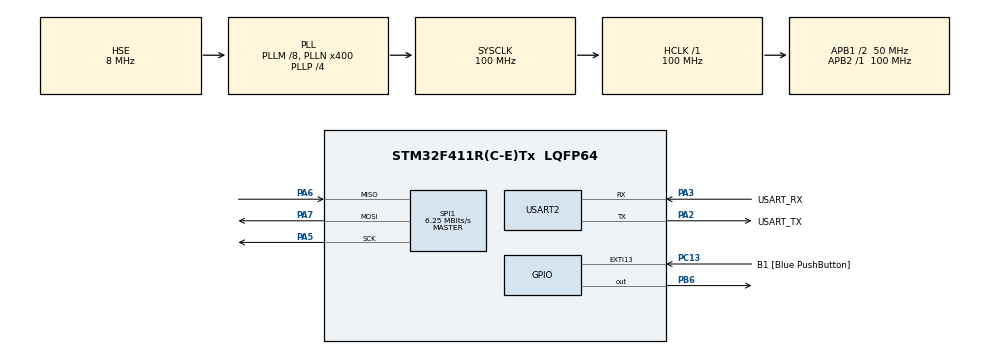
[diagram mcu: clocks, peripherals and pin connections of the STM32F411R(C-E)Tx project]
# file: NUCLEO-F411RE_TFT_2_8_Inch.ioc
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Mcu.Family=STM32F4
Mcu.Name=STM32F411R(C-E)Tx
Mcu.Package=LQFP64
NVIC.PriorityGroup=NVIC_PRIORITYGROUP_0
PA13.GPIO_Label=TMS
PA13.Mode=Serial_Wire
PA13.Signal=SYS_JTMS-SWDIO
PA14.GPIO_Label=TCK
PA14.Mode=Serial_Wire
PA14.Signal=SYS_JTCK-SWCLK
PA2.GPIO_Label=USART_TX
PA2.Mode=Asynchronous
PA2.Signal=USART2_TX
PA3.GPIO_Label=USART_RX
PA3.Mode=Asynchronous
PA3.Signal=USART2_RX
PA5.Mode=Full_Duplex_Master
PA5.Signal=SPI1_SCK
PA6.Mode=Full_Duplex_Master
PA6.Signal=SPI1_MISO
PA7.Mode=Full_Duplex_Master
PA7.Signal=SPI1_MOSI
PB3.GPIO_Label=SWO
PB3.Signal=SYS_JTDO-SWO
PB6.GPIO_PuPd=GPIO_PULLUP
PB6.GPIO_Speed=GPIO_SPEED_FREQ_VERY_HIGH
PB6.PinState=GPIO_PIN_SET
PB6.Signal=GPIO_Output
PC13-ANTI_TAMP.GPIO_Label=B1 [Blue PushButton]
PC13-ANTI_TAMP.GPIO_ModeDefaultEXTI=GPIO_MODE_IT_FALLING
PC13-ANTI_TAMP.Signal=GPXTI13
PC14-OSC32_IN.Mode=LSE-External-Oscillator
PC14-OSC32_IN.Signal=RCC_OSC32_IN
PC15-OSC32_OUT.Mode=LSE-External-Oscillator
PC15-OSC32_OUT.Signal=RCC_OSC32_OUT
PH0\ -\ OSC_IN.Mode=HSE-External-Clock-Source
PH0\ -\ OSC_IN.Signal=RCC_OSC_IN
PH1\ -\ OSC_OUT.Mode=HSE-External-Clock-Source
PH1\ -\ OSC_OUT.Signal=RCC_OSC_OUT
ProjectManager.HeapSize=0x2000
ProjectManager.StackSize=0x4000
ProjectManager.TargetToolchain=MDK-ARM V5.32
RCC.48MHZClocksFreq_Value=100000000
RCC.AHBFreq_Value=100000000
RCC.APB1CLKDivider=RCC_HCLK_DIV2
RCC.APB1Freq_Value=50000000
RCC.APB1TimFreq_Value=100000000
RCC.APB2Freq_Value=100000000
RCC.APB2TimFreq_Value=100000000
RCC.CortexFreq_Value=100000000
RCC.FLatency-AdvancedSettings=FLASH_LATENCY_3
RCC.HCLKFreq_Value=100000000
RCC.HSE_VALUE=8000000
RCC.HSI_VALUE=16000000
RCC.PLLM=8
RCC.PLLN=400
RCC.PLLP=RCC_PLLP_DIV4
RCC.PLLSourceVirtual=RCC_PLLSOURCE_HSE
RCC.SYSCLKFreq_VALUE=100000000
RCC.SYSCLKSource=RCC_SYSCLKSOURCE_PLLCLK
RCC.VCOOutputFreq_Value=400000000
SPI1.BaudRatePrescaler=SPI_BAUDRATEPRESCALER_16
SPI1.CalculateBaudRate=6.25 MBits/s
SPI1.Direction=SPI_DIRECTION_2LINES
SPI1.Mode=SPI_MODE_MASTER
SPI1.VirtualType=VM_MASTER
USART2.VirtualMode=VM_ASYNC
board=NUCLEO-F411RE

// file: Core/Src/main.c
/* USER CODE BEGIN Header */
/**
  ******************************************************************************
  * @file           : main.c
  * @brief          : Main program body
  ******************************************************************************
  * @attention
  *
  * <h2><center>&copy; Copyright (c) 2025 STMicroelectronics.
  * All rights reserved.</center></h2>
  *
  * This software component is licensed by ST under BSD 3-Clause license,
  * the "License"; You may not use this file except in compliance with the
  * License. You may obtain a copy of the License at:
  *                        opensource.org/licenses/BSD-3-Clause
  *
  ******************************************************************************
  */
/* USER CODE END Header */
#include "main.h"

/* USER CODE BEGIN Includes */
#include "string.h"
#include <stdio.h>
#include "fatfs.h"
#include "fatfs_sd.h"
#include "fatfs_storage.h"
/* USER CODE END Includes */

SPI_HandleTypeDef hspi1;

UART_HandleTypeDef huart2;

/* USER CODE BEGIN PV */
char* pDirectoryFiles[MAX_BMP_FILES];
uint8_t str[20];
FRESULT fres;
FIL fil;
uint8_t fl_file_opened;
FATFS SD_FatFs;  /* File system object for SD card logical drive */
char SD_Path[4]; /* SD card logical drive path */

uint8_t DemoIndex = 0;
/* USER CODE END PV */

void SystemClock_Config(void);
static void MX_GPIO_Init(void);
static void MX_SPI1_Init(void);
static void MX_USART2_UART_Init(void);
/* USER CODE BEGIN PFP */
static void SDCard_Config(void);
static void SDCard_Test(void);
/* USER CODE END PFP */

int main(void)
{
  /* USER CODE BEGIN 1 */
	BSP_DemoTypedef  BSP_examples[]=
{
  {Demo_DrawGraphic, 	"DrawGraphic", 	0},
  {Demo_ShowImages, 	"ShowImages", 	0},
  {Demo_Touchscreen, 	"Touchscreen", 	0},
	{Demo_SDwriteFile, 	"SDwriteFile", 	0},
};
  /* USER CODE END 1 */

  /* MCU Configuration--------------------------------------------------------*/

  /* Reset of all peripherals, Initializes the Flash interface and the Systick. */
  HAL_Init();

  /* Configure the system clock */
  SystemClock_Config();

  /* Initialize all configured peripherals */
  MX_GPIO_Init();
  MX_SPI1_Init();
  MX_USART2_UART_Init();
  /* USER CODE BEGIN 2 */
	MX_FATFS_Init();
	HAL_Delay(100);
	driver_init();	// LCD Init

	/* Configure SD card */
	SDCard_Config();

	/* Initialize User_Button on STM32H7xx-Nucleo ------------------*/
  BSP_PB_Init(BUTTON_USER, BUTTON_MODE_EXTI);

	lcd_display_string(50, 16, (const uint8_t *)"STM32F411RE-NUCLEO", 16, RED);
	lcd_display_string(20, 48, (const uint8_t *)"Drivers examples:", 16, RED);
	for(uint8_t i=0; i<4; i++)
  {
		lcd_display_string(50, 64+(16*i), (const uint8_t *)BSP_examples[DemoIndex].DemoName, 16, RED);
		DemoIndex++;
  }
	lcd_display_string(20, 160, (const uint8_t *)"Press User Button to start", 16, RED);

	/* 0. Wait for User button to be pressed -------------------------------------*/
  while(CheckForUserInput() == 0)
  {}
  /* USER CODE END 2 */

  /* Infinite loop */
  /* USER CODE BEGIN WHILE */
	DemoIndex = 0;
  while (1)
  {
    /* USER CODE END WHILE */
		BSP_examples[DemoIndex].DemoFunc();
		HAL_Delay(10);
  }
}

void SystemClock_Config(void)
{
  RCC_OscInitTypeDef RCC_OscInitStruct = {0};
  RCC_ClkInitTypeDef RCC_ClkInitStruct = {0};

  /** Configure the main internal regulator output voltage
  */
  __HAL_RCC_PWR_CLK_ENABLE();
  __HAL_PWR_VOLTAGESCALING_CONFIG(PWR_REGULATOR_VOLTAGE_SCALE1);
  /** Initializes the RCC Oscillators according to the specified parameters
  * in the RCC_OscInitTypeDef structure.
  */
  RCC_OscInitStruct.OscillatorType = RCC_OSCILLATORTYPE_HSE;
  RCC_OscInitStruct.HSEState = RCC_HSE_BYPASS;
  RCC_OscInitStruct.PLL.PLLState = RCC_PLL_ON;
  RCC_OscInitStruct.PLL.PLLSource = RCC_PLLSOURCE_HSE;
  RCC_OscInitStruct.PLL.PLLM = 8;
  RCC_OscInitStruct.PLL.PLLN = 400;
  RCC_OscInitStruct.PLL.PLLP = RCC_PLLP_DIV4;
  RCC_OscInitStruct.PLL.PLLQ = 4;
  if (HAL_RCC_OscConfig(&RCC_OscInitStruct) != HAL_OK)
  {
    Error_Handler();
  }
  /** Initializes the CPU, AHB and APB buses clocks
  */
  RCC_ClkInitStruct.ClockType = RCC_CLOCKTYPE_HCLK|RCC_CLOCKTYPE_SYSCLK
                              |RCC_CLOCKTYPE_PCLK1|RCC_CLOCKTYPE_PCLK2;
  RCC_ClkInitStruct.SYSCLKSource = RCC_SYSCLKSOURCE_PLLCLK;
  RCC_ClkInitStruct.AHBCLKDivider = RCC_SYSCLK_DIV1;
  RCC_ClkInitStruct.APB1CLKDivider = RCC_HCLK_DIV2;
  RCC_ClkInitStruct.APB2CLKDivider = RCC_HCLK_DIV1;

  if (HAL_RCC_ClockConfig(&RCC_ClkInitStruct, FLASH_LATENCY_3) != HAL_OK)
  {
    Error_Handler();
  }
}

static void MX_SPI1_Init(void)
{

  /* SPI1 parameter configuration*/
  hspi1.Instance = SPI1;
  hspi1.Init.Mode = SPI_MODE_MASTER;
  hspi1.Init.Direction = SPI_DIRECTION_2LINES;
  hspi1.Init.DataSize = SPI_DATASIZE_8BIT;
  hspi1.Init.CLKPolarity = SPI_POLARITY_LOW;
  hspi1.Init.CLKPhase = SPI_PHASE_1EDGE;
  hspi1.Init.NSS = SPI_NSS_SOFT;
  hspi1.Init.BaudRatePrescaler = SPI_BAUDRATEPRESCALER_16;
  hspi1.Init.FirstBit = SPI_FIRSTBIT_MSB;
  hspi1.Init.TIMode = SPI_TIMODE_DISABLE;
  hspi1.Init.CRCCalculation = SPI_CRCCALCULATION_DISABLE;
  hspi1.Init.CRCPolynomial = 10;
  if (HAL_SPI_Init(&hspi1) != HAL_OK)
  {
    Error_Handler();
  }

}

static void MX_USART2_UART_Init(void)
{

  huart2.Instance = USART2;
  huart2.Init.BaudRate = 115200;
  huart2.Init.WordLength = UART_WORDLENGTH_8B;
  huart2.Init.StopBits = UART_STOPBITS_1;
  huart2.Init.Parity = UART_PARITY_NONE;
  huart2.Init.Mode = UART_MODE_TX_RX;
  huart2.Init.HwFlowCtl = UART_HWCONTROL_NONE;
  huart2.Init.OverSampling = UART_OVERSAMPLING_16;
  if (HAL_UART_Init(&huart2) != HAL_OK)
  {
    Error_Handler();
  }

}

static void MX_GPIO_Init(void)
{
  GPIO_InitTypeDef GPIO_InitStruct = {0};

  /* GPIO Ports Clock Enable */
  __HAL_RCC_GPIOC_CLK_ENABLE();
  __HAL_RCC_GPIOH_CLK_ENABLE();
  __HAL_RCC_GPIOA_CLK_ENABLE();
  __HAL_RCC_GPIOB_CLK_ENABLE();

  /*Configure GPIO pin : B1_Pin */
  GPIO_InitStruct.Pin = B1_Pin;
  GPIO_InitStruct.Mode = GPIO_MODE_IT_FALLING;
  GPIO_InitStruct.Pull = GPIO_NOPULL;
  HAL_GPIO_Init(B1_GPIO_Port, &GPIO_InitStruct);

	/* LCD GPIO Configuration
	PB6      ------> LCD_CS
	PA8 		 ------> LCD_DC
	PC7      ------> LCD_BL
	*/
	GPIO_InitStruct.Pin = LCD_CS_PIN;
	GPIO_InitStruct.Mode = GPIO_MODE_OUTPUT_PP;
	GPIO_InitStruct.Pull = GPIO_PULLUP;
	GPIO_InitStruct.Speed = GPIO_SPEED_FREQ_HIGH;
	HAL_GPIO_Init(LCD_CS_GPIO, &GPIO_InitStruct);

	GPIO_InitStruct.Pin = LCD_DC_PIN;
	HAL_GPIO_Init(LCD_DC_GPIO, &GPIO_InitStruct);

	GPIO_InitStruct.Pin = LCD_BKL_PIN;
	GPIO_InitStruct.Pull = GPIO_NOPULL;
	GPIO_InitStruct.Speed = GPIO_SPEED_FREQ_LOW;
	HAL_GPIO_Init(LCD_BKL_GPIO, &GPIO_InitStruct);

	/* SD GPIO Configuration
	PB4      ------> SD_CS
	*/
	GPIO_InitStruct.Pin = SD_CS_PIN;
	GPIO_InitStruct.Mode = GPIO_MODE_OUTPUT_PP;
	GPIO_InitStruct.Pull = GPIO_PULLUP;
	GPIO_InitStruct.Speed = GPIO_SPEED_FREQ_HIGH;
	HAL_GPIO_Init(SD_CS_GPIO_PORT, &GPIO_InitStruct);

	/* Touch GPIO Configuration
	PB5      ------> XPT2046_CS
	PB3      ------> XPT2046_IRQ
	*/
	GPIO_InitStruct.Pin = XPT2046_CS_PIN;
	GPIO_InitStruct.Mode = GPIO_MODE_OUTPUT_PP;
	GPIO_InitStruct.Pull = GPIO_PULLUP;
	GPIO_InitStruct.Speed = GPIO_SPEED_FREQ_HIGH;
	HAL_GPIO_Init(XPT2046_CS_GPIO, &GPIO_InitStruct);

	GPIO_InitStruct.Pin = XPT2046_IRQ_PIN;
  GPIO_InitStruct.Mode = GPIO_MODE_INPUT;
  GPIO_InitStruct.Pull = GPIO_PULLUP;
  HAL_GPIO_Init(XPT2046_IRQ_GPIO, &GPIO_InitStruct);

	/*Configure GPIO pin Output Level */
  HAL_GPIO_WritePin(LCD_CS_GPIO, LCD_CS_PIN, GPIO_PIN_SET);
	HAL_GPIO_WritePin(SD_CS_GPIO_PORT, SD_CS_PIN, GPIO_PIN_SET);
	HAL_GPIO_WritePin(XPT2046_CS_GPIO, XPT2046_CS_PIN, GPIO_PIN_SET);
}

/* USER CODE BEGIN 4 */
/**
  * @brief  Output the image on LCD from SD.
  * @param  None
  * @retval None
  */
static void display_images(void)
{
	  uint32_t bmplen = 0x00;
    uint32_t checkstatus = 0x00;
    uint32_t filesnumbers = 0x00;
    uint32_t bmpcounter = 0x00;
    DIR directory;
    FRESULT res;
	/* Open directory */
    res= f_opendir(&directory, "/");
    if((res != FR_OK))
    {
      if(res == FR_NO_FILESYSTEM)
      {
        /* Display message: SD card not FAT formated */
        lcd_display_string(0, 32, (const uint8_t *)"SD_CARD_NOT_FORMATTED", 16, RED);

      }
      else
      {
        /* Display message: Fail to open directory */
         lcd_display_string(0, 48, (const uint8_t *)"SD_CARD_OPEN_FAIL", 16, RED);
      }
    }

    /* Get number of bitmap files */
    filesnumbers = Storage_GetDirectoryBitmapFiles ("/", pDirectoryFiles);

		/* Set bitmap counter to display first image */
    bmpcounter = 1;

    while (1)
    {
			sprintf((char*)str, "%-11.11s", pDirectoryFiles[bmpcounter -1]);
			checkstatus = Storage_CheckBitmapFile((const char*)str, &bmplen);

			if(checkstatus == 0)
			{
				/* Format the string */
				Storage_OpenReadFile(0, 0, (const char*)str);
			}
			else if (checkstatus == 1)
			{
				/* Display message: SD card does not exist */
				 lcd_display_string(0, 64, (const uint8_t *)"SD_CARD_NOT_FOUND", 16, RED);
			}
			else
			{
				/* Display message: File not supported */
					lcd_display_string(0, 80, (const uint8_t *)"SD_CARD_FILE_NOT_SUPPORTED", 16, RED);
			}

			bmpcounter ++;
			if(bmpcounter > filesnumbers)
			{
				bmpcounter = 1;
			}

			HAL_Delay(5000);

			if(DemoIndex>1){
				DemoIndex = 2;
				break;
			}
    }
}

/**
  * @brief  Configuration the SDcard.
  * @param  None
  * @retval None
  */
static void SDCard_Config(void)
{
  uint32_t counter = 0;

	/* Check the mounted device */
	if(f_mount(&SD_FatFs, (TCHAR const*)"/", 0) != FR_OK)
	{
		lcd_display_string(0, 16, (const uint8_t *)"FATFS_NOT_MOUNTED", 16, RED);
	}
	else
	{
		/* Initialize the Directory Files pointers (heap) */
		for (counter = 0; counter < MAX_BMP_FILES; counter++)
		{
			pDirectoryFiles[counter] = malloc(11);
		}
	}
}

/**
  * @brief  Test to write file on SDcard.
  * @param  None
  * @retval None
  */
static void SDCard_Test(void)
{
		fres = f_open(&fil, "log.txt", FA_OPEN_APPEND | FA_WRITE | FA_READ);
		if (fres == FR_OK) {
			lcd_display_string(0, 16, (const uint8_t *)"File log.txt opened", 16, BLACK);
		} else if (fres != FR_OK) {
			lcd_display_string(0, 16, (const uint8_t *)"FILE_NOT_OPENED", 16, RED);
		}

		for (uint8_t i = 0; i < 10; i++) {
			f_puts("This text is written in the file.\n", &fil);
		}

		if (fres == FR_OK) {
			lcd_display_string(0, 32, (const uint8_t *)"Text written in the file", 16, BLACK);
		}

		/* Close file */
		fres = f_close(&fil);
		if (fres == FR_OK) {
			lcd_display_string(0, 48, (const uint8_t *)"File log.txt closed", 16, BLACK);
		} else if (fres != FR_OK) {
			lcd_display_string(0, 48, (const uint8_t *)"FILE_NOT_CLOSED", 16, RED);
		}

		lcd_display_string(0, 300, (const uint8_t *)"Press User Button to continue", 16, BLACK);

		while(1){
			if(CheckForUserInput()){
				DemoIndex = 0;
				break;
			}
		}
}

/**
  * @brief  Demo Draw Graphic.
  * @param  None
  * @retval None
  */
void Demo_DrawGraphic(void)
{
	lcd_clear_screen(BLACK);

	lcd_display_string(60, 120, (const uint8_t *)"Hello, world !", FONT_1608, WHITE);
  lcd_display_string(30, 152, (const uint8_t *)"2.8' TFT Touch Shield", FONT_1608, WHITE);

	lcd_draw_circle(50,50,30,BLUE);
	lcd_fill_rect(160,200,60,100,GREEN);
	lcd_draw_rect(80,90,100,100,YELLOW);
	lcd_draw_h_line(18,180,200,RED);
	lcd_draw_v_line(30,120,100,GRAY);

	lcd_display_string(0, 300, (const uint8_t *)"Press User Button to continue", 16, WHITE);

	while(1){
		if(CheckForUserInput()){
			DemoIndex = 1;
			break;
		}
	}
}

/**
  * @brief  Demo Show Images.
  * @param  None
  * @retval None
  */
void Demo_ShowImages(void)
{
	lcd_clear_screen(WHITE);
	display_images();
}

/**
  * @brief  Demo Touchscreen.
  * @param  None
  * @retval None
  */
static void Demo_Touchscreen(void)
{
	lcd_clear_screen(WHITE);

	/* Slow SPI speed  */
	SET_SPI_BAUDRATEPRESCALER_128;
	/*-----------------*/

	tp_init();
	tp_adjust();
  tp_dialog();

	while(1){
		tp_draw_board();
		if(CheckForUserInput()){
			/* Fast SPI speed  */
			SET_SPI_BAUDRATEPRESCALER_16;
			/*-----------------*/
			DemoIndex = 3;
			break;
		}
	}
}

/**
  * @brief  Demo microSD write File.
  * @param  None
  * @retval None
  */
static void Demo_SDwriteFile(void)
{
	lcd_clear_screen(WHITE);
	SDCard_Test();
}

/**
  * @brief  Check for user input.
  * @param  None
  * @retval Input state (1 : active / 0 : Inactive)
  */
uint8_t CheckForUserInput(void)
{
  if(BSP_PB_GetState(BUTTON_USER) == BUTTON_PRESSED)
  {
    HAL_Delay(10);
    while (BSP_PB_GetState(BUTTON_USER) == BUTTON_PRESSED);
		return 1 ;
  }
  return 0;
}

/**
  * @brief  BSP Push Button callback
  * @param  Button Specifies the pin connected EXTI line
  * @retval None
  */
void BSP_PB_Callback(Button_TypeDef Button){
	DemoIndex++;
	if(DemoIndex > 3) DemoIndex = 0;
}

/* USER CODE END 4 */

void Error_Handler(void)
{
  __disable_irq();
  while (1)
  {
  }
}

/************************ (C) COPYRIGHT STMicroelectronics *****END OF FILE****/
